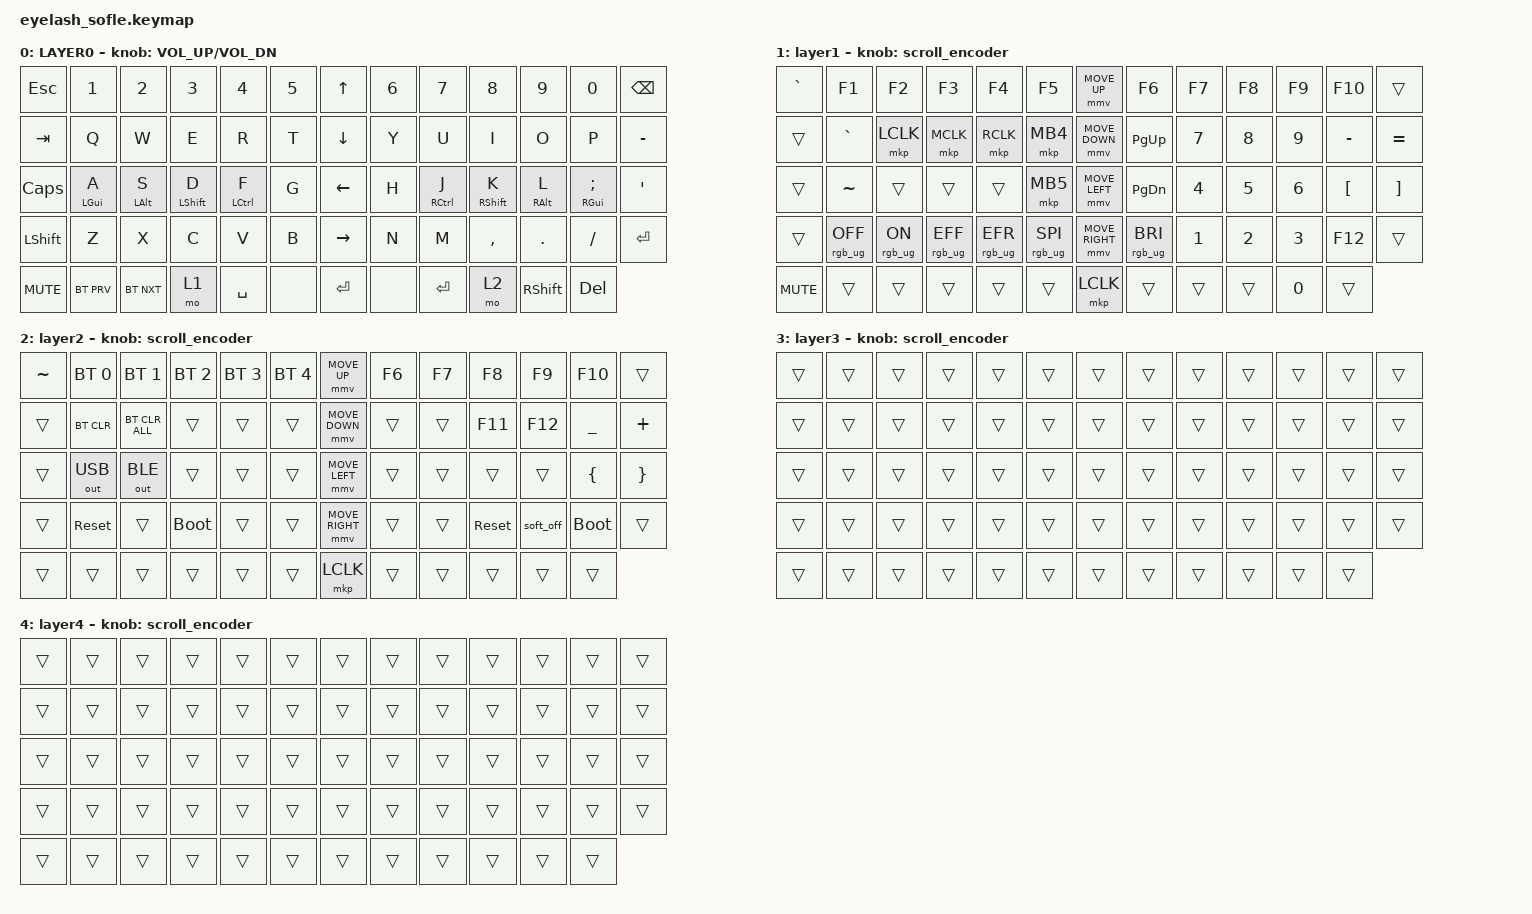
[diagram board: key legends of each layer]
#define ZMK_POINTING_DEFAULT_MOVE_VAL 1200  // 600
#define ZMK_POINTING_DEFAULT_SCRL_VAL 25   // 10

#include <input/processors.dtsi>
#include <zephyr/dt-bindings/input/input-event-codes.h>
#include <behaviors.dtsi>
#include <dt-bindings/zmk/bt.h>
#include <dt-bindings/zmk/keys.h>
#include <dt-bindings/zmk/outputs.h>
#include <dt-bindings/zmk/pointing.h>
#include <dt-bindings/zmk/rgb.h>

&mmv_input_listener { input-processors = <&zip_xy_scaler 2 1>; };

&msc_input_listener { input-processors = <&zip_scroll_scaler 2 1>; };

&msc {
    acceleration-exponent = <1>;      // 0
    time-to-max-speed-ms = <100>;       // 300
    delay-ms = <0>;                   // 0
};

&mmv {
    time-to-max-speed-ms = <500>;
    acceleration-exponent = <1>;
    trigger-period-ms = <16>;
};

&soft_off { hold-time-ms = <3000>; };

&mt { flavor = "tap-preferred"; };

/ {
    scroll_encoder: scroll_encoder {
        compatible = "zmk,behavior-sensor-rotate";
        #sensor-binding-cells = <0>;
        bindings = <&msc SCRL_DOWN>, <&msc SCRL_UP>;

        tap-ms = <100>;
    };

    behaviors {
    };

    combos {
        compatible = "zmk,combos";

        softoff {
            bindings = <&soft_off>;
            key-positions = <14 28 40>;
        };
    };

    keymap {
        compatible = "zmk,keymap";

        layer0 {
            bindings = <
&kp ESC     &kp N1          &kp N2          &kp N3            &kp N4              &kp N5    &kp UP_ARROW     &kp N6  &kp N7       &kp N8             &kp N9           &kp N0                   &kp BACKSPACE
&kp TAB     &kp Q           &kp W           &kp E             &kp R               &kp T     &kp DOWN_ARROW   &kp Y   &kp U        &kp I              &kp O            &kp P                    &kp MINUS
&kp CAPS    &mt LEFT_GUI A  &mt LEFT_ALT S  &mt LEFT_SHIFT D  &mt LEFT_CONTROL F  &kp G     &kp LEFT_ARROW   &kp H   &mt RCTRL J  &mt RIGHT_SHIFT K  &mt RIGHT_ALT L  &mt RIGHT_GUI SEMICOLON  &kp APOS
&kp LSHFT   &kp Z           &kp X           &kp C             &kp V               &kp B     &kp RIGHT_ARROW  &kp N   &kp M        &kp COMMA          &kp DOT          &kp FSLH                 &kp ENTER
&kp C_MUTE  &bt BT_PRV      &bt BT_NXT      &mo 1             &kp SPACE           &none     &kp ENTER        &none   &kp ENTER    &mo 2              &kp RIGHT_SHIFT  &kp DELETE
            >;

            sensor-bindings = <&inc_dec_kp C_VOLUME_UP C_VOL_DN>;
            display-name = "LAYER0";
        };

        layer_1 {
            bindings = <
&kp GRAVE   &kp F1           &kp F2          &kp F3           &kp F4           &kp F5             &mmv MOVE_UP     &kp F6           &kp F7        &kp F8        &kp F9        &kp F10           &trans
&trans      &kp GRAVE        &mkp LCLK       &mkp MCLK        &mkp RCLK        &mkp MB4           &mmv MOVE_DOWN   &kp PG_UP        &kp N7        &kp N8        &kp N9        &kp MINUS         &kp EQUAL
&trans      &kp TILDE        &trans          &trans           &trans           &mkp MB5           &mmv MOVE_LEFT   &kp PG_DN        &kp NUMBER_4  &kp N5        &kp NUMBER_6  &kp LEFT_BRACKET  &kp RIGHT_BRACKET
&trans      &rgb_ug RGB_OFF  &rgb_ug RGB_ON  &rgb_ug RGB_EFF  &rgb_ug RGB_EFR  &rgb_ug RGB_SPI    &mmv MOVE_RIGHT  &rgb_ug RGB_BRI  &kp NUMBER_1  &kp NUMBER_2  &kp NUMBER_3  &kp F12           &trans
&kp C_MUTE  &trans           &trans          &trans           &trans           &trans             &mkp LCLK        &trans           &trans        &trans        &kp N0        &trans
            >;

            display-name = "layer1";
            sensor-bindings = <&scroll_encoder>;
        };

        layer_2 {
            bindings = <
&kp TILDE  &bt BT_SEL 0  &bt BT_SEL 1    &bt BT_SEL 2  &bt BT_SEL 3  &bt BT_SEL 4    &mmv MOVE_UP     &kp F6  &kp F7  &kp F8      &kp F9     &kp F10      &trans
&trans     &bt BT_CLR    &bt BT_CLR_ALL  &trans        &trans        &trans          &mmv MOVE_DOWN   &trans  &trans  &kp F11     &kp F12    &kp UNDER    &kp PLUS
&trans     &out OUT_USB  &out OUT_BLE    &trans        &trans        &trans          &mmv MOVE_LEFT   &trans  &trans  &trans      &trans     &kp LBRC     &kp RBRC
&trans     &sys_reset    &trans          &bootloader   &trans        &trans          &mmv MOVE_RIGHT  &trans  &trans  &sys_reset  &soft_off  &bootloader  &trans
&trans     &trans        &trans          &trans        &trans        &trans          &mkp LCLK        &trans  &trans  &trans      &trans     &trans
            >;

            display-name = "layer2";
            sensor-bindings = <&scroll_encoder>;
        };

        layer_3 {
            bindings = <
&trans  &trans  &trans  &trans  &trans  &trans    &trans  &trans  &trans  &trans  &trans  &trans  &trans
&trans  &trans  &trans  &trans  &trans  &trans    &trans  &trans  &trans  &trans  &trans  &trans  &trans
&trans  &trans  &trans  &trans  &trans  &trans    &trans  &trans  &trans  &trans  &trans  &trans  &trans
&trans  &trans  &trans  &trans  &trans  &trans    &trans  &trans  &trans  &trans  &trans  &trans  &trans
&trans  &trans  &trans  &trans  &trans  &trans    &trans  &trans  &trans  &trans  &trans  &trans
            >;

            display-name = "layer3";
            sensor-bindings = <&scroll_encoder>;
        };

        layer_4 {
            bindings = <
&trans  &trans  &trans  &trans  &trans  &trans    &trans  &trans  &trans  &trans  &trans  &trans  &trans
&trans  &trans  &trans  &trans  &trans  &trans    &trans  &trans  &trans  &trans  &trans  &trans  &trans
&trans  &trans  &trans  &trans  &trans  &trans    &trans  &trans  &trans  &trans  &trans  &trans  &trans
&trans  &trans  &trans  &trans  &trans  &trans    &trans  &trans  &trans  &trans  &trans  &trans  &trans
&trans  &trans  &trans  &trans  &trans  &trans    &trans  &trans  &trans  &trans  &trans  &trans
            >;

            display-name = "layer4";
            sensor-bindings = <&scroll_encoder>;
        };
    };
};
